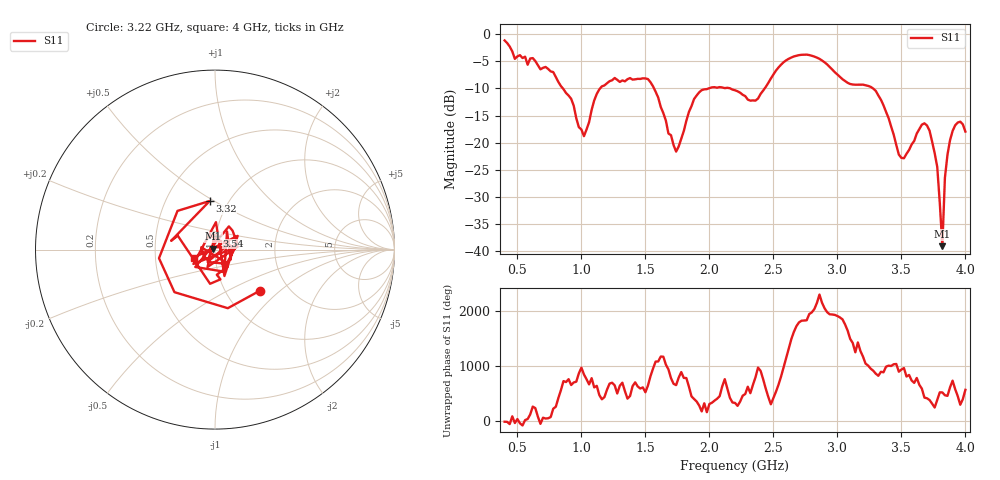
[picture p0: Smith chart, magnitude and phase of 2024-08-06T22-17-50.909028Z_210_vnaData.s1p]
!Created with skrf (http://scikit-rf.org).
# Hz S RI R 50.0
!freq ReS11 ImS11
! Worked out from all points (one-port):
!   181 points, 400 MHz to 4 GHz, reference 50 ohm
!   lowest |S11| = -39.1 dB at 3.82 GHz (marker M1), VSWR 1.02, Z = 49 + j0.474 ohm
!   |S11| at or under -10 dB: 855.7 MHz to 1.146 GHz (290 MHz wide, 29 % of centre); 1.568 GHz to 1.992 GHz (424.8 MHz wide, 23.9 % of centre); 3.279 GHz to end of sweep (the widest 3 of 4)
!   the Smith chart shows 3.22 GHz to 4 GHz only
!   S11 on the Smith chart (normalised r, x): 3.22 GHz: 1.44, -0.74; 3.32 GHz: 0.82, +0.48; 3.54 GHz: 1.01, +0.16; 4 GHz: 0.79, -0.07
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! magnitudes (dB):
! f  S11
! 400 MHz  -1.1
! 480 MHz  -4.5
! 860 MHz  -10.1
! 1.02 GHz  -18.8
! 1.14 GHz  -10.2
! 1.3 GHz  -8.8
! 1.52 GHz  -8.3
! 1.74 GHz  -21.7
! 1.76 GHz  -20.7
! 1.92 GHz  -10.7
! 2.2 GHz  -10.3
! 2.36 GHz  -12.2
! 2.66 GHz  -4.1
! 2.86 GHz  -4.5
! 3.1 GHz  -9.2
! 3.22 GHz  -9.4
! 3.32 GHz  -11.3
! 3.48 GHz  -22.2
! 3.54 GHz  -22.1
! 3.56 GHz  -21.3
! 3.66 GHz  -16.7
! 3.72 GHz  -17.8
! 3.78 GHz  -24.5
! 3.82 GHz  -39.1
! 3.84 GHz  -26.5
! 3.88 GHz  -19.6
! 3.94 GHz  -16.3
! 4 GHz  -18.0
